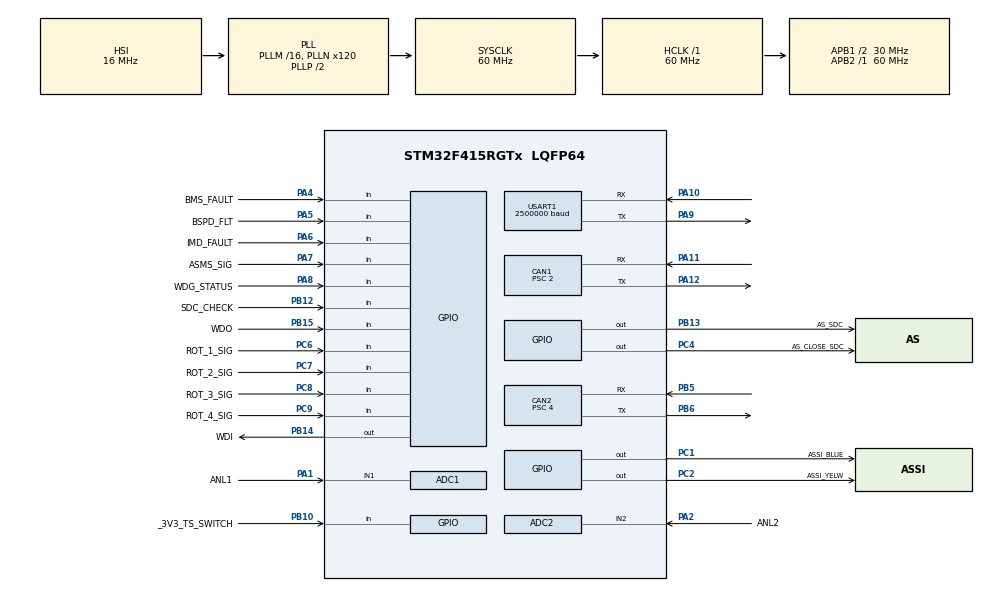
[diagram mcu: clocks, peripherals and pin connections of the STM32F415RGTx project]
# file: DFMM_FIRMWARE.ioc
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ADC1.Channel-0\#ChannelRegularConversion=ADC_CHANNEL_1
ADC1.ClockPrescaler=ADC_CLOCK_SYNC_PCLK_DIV4
ADC1.NbrOfConversionFlag=1
ADC1.Rank-0\#ChannelRegularConversion=1
ADC1.SamplingTime-0\#ChannelRegularConversion=ADC_SAMPLETIME_3CYCLES
ADC1.master=1
ADC2.Channel-0\#ChannelRegularConversion=ADC_CHANNEL_2
ADC2.ClockPrescaler=ADC_CLOCK_SYNC_PCLK_DIV4
ADC2.NbrOfConversionFlag=1
ADC2.Rank-0\#ChannelRegularConversion=1
ADC2.SamplingTime-0\#ChannelRegularConversion=ADC_SAMPLETIME_3CYCLES
CAN1.BS1=CAN_BS1_12TQ
CAN1.BS2=CAN_BS2_2TQ
CAN1.CalculateBaudRate=999999
CAN1.CalculateTimeBit=1000
CAN1.CalculateTimeQuantum=66.66666666666667
CAN1.Mode=CAN_MODE_LOOPBACK
CAN1.Prescaler=2
CAN2.BS1=CAN_BS1_12TQ
CAN2.BS2=CAN_BS2_2TQ
CAN2.CalculateBaudRate=499999
CAN2.CalculateTimeBit=2000
CAN2.CalculateTimeQuantum=133.33333333333334
CAN2.Mode=CAN_MODE_LOOPBACK
CAN2.Prescaler=4
Dma.Request0=USART1_TX
Dma.USART1_TX.0.Direction=DMA_MEMORY_TO_PERIPH
Dma.USART1_TX.0.FIFOMode=DMA_FIFOMODE_ENABLE
Dma.USART1_TX.0.FIFOThreshold=DMA_FIFO_THRESHOLD_FULL
Dma.USART1_TX.0.Instance=DMA2_Stream7
Dma.USART1_TX.0.MemBurst=DMA_MBURST_SINGLE
Dma.USART1_TX.0.MemDataAlignment=DMA_MDATAALIGN_BYTE
Dma.USART1_TX.0.MemInc=DMA_MINC_ENABLE
Dma.USART1_TX.0.Mode=DMA_NORMAL
Dma.USART1_TX.0.PeriphBurst=DMA_PBURST_SINGLE
Dma.USART1_TX.0.PeriphDataAlignment=DMA_PDATAALIGN_BYTE
Dma.USART1_TX.0.PeriphInc=DMA_PINC_DISABLE
Dma.USART1_TX.0.Priority=DMA_PRIORITY_LOW
Mcu.Family=STM32F4
Mcu.Name=STM32F415RGTx
Mcu.Package=LQFP64
NVIC.CAN1_RX0_IRQn=true\:0\:0\:false\:false\:true\:true\:true\:true
NVIC.CAN2_RX1_IRQn=true\:0\:0\:false\:false\:true\:true\:true\:true
NVIC.DMA2_Stream7_IRQn=true\:0\:0\:false\:false\:true\:false\:true\:true
NVIC.PriorityGroup=NVIC_PRIORITYGROUP_4
NVIC.TIM6_DAC_IRQn=true\:0\:0\:false\:false\:true\:true\:true\:true
NVIC.TIM7_IRQn=true\:0\:0\:false\:false\:true\:true\:true\:true
PA1.GPIO_Label=ANL1
PA1.Signal=ADCx_IN1
PA10.Mode=Asynchronous
PA10.Signal=USART1_RX
PA11.Mode=CAN_Activate
PA11.Signal=CAN1_RX
PA12.Mode=CAN_Activate
PA12.Signal=CAN1_TX
PA13.GPIO_Label=SWDIO
PA13.Mode=JTAG_4_pins
PA13.Signal=SYS_JTMS-SWDIO
PA14.GPIO_Label=SWCLK
PA14.Mode=JTAG_4_pins
PA14.Signal=SYS_JTCK-SWCLK
PA15.GPIO_Label=JTDI
PA15.Mode=JTAG_4_pins
PA15.Signal=SYS_JTDI
PA2.GPIO_Label=ANL2
PA2.Signal=ADCx_IN2
PA4.GPIO_Label=BMS_FAULT
PA4.GPIO_PuPd=GPIO_PULLUP
PA4.Signal=GPIO_Input
PA5.GPIO_Label=BSPD_FLT
PA5.GPIO_PuPd=GPIO_PULLUP
PA5.Signal=GPIO_Input
PA6.GPIO_Label=IMD_FAULT
PA6.Signal=GPIO_Input
PA7.GPIO_Label=ASMS_SIG
PA7.Signal=GPIO_Input
PA8.GPIO_Label=WDG_STATUS
PA8.GPIO_PuPd=GPIO_PULLUP
PA8.Signal=GPIO_Input
PA9.Mode=Asynchronous
PA9.Signal=USART1_TX
PB10.GPIO_Label=_3V3_TS_SWITCH
PB10.GPIO_PuPd=GPIO_PULLUP
PB10.Signal=GPIO_Input
PB12.GPIO_Label=SDC_CHECK
PB12.GPIO_PuPd=GPIO_PULLDOWN
PB12.Signal=GPIO_Input
PB13.GPIO_Label=AS_SDC
PB13.Signal=GPIO_Output
PB14.GPIO_Label=WDI
PB14.Signal=GPIO_Output
PB15.GPIO_Label=WDO
PB15.Signal=GPIO_Input
PB3.Mode=JTAG_4_pins
PB3.Signal=SYS_JTDO-SWO
PB5.Mode=CAN_Activate
PB5.Signal=CAN2_RX
PB6.Mode=CAN_Activate
PB6.Signal=CAN2_TX
PC1.GPIO_Label=ASSI_BLUE
PC1.Signal=GPIO_Output
PC2.GPIO_Label=ASSI_YELW
PC2.Signal=GPIO_Output
PC4.GPIO_Label=AS_CLOSE_SDC
PC4.Signal=GPIO_Output
PC6.GPIO_Label=ROT_1_SIG
PC6.GPIO_PuPd=GPIO_PULLUP
PC6.Signal=GPIO_Input
PC7.GPIO_Label=ROT_2_SIG
PC7.GPIO_PuPd=GPIO_PULLUP
PC7.Signal=GPIO_Input
PC8.GPIO_Label=ROT_3_SIG
PC8.Signal=GPIO_Input
PC9.GPIO_Label=ROT_4_SIG
PC9.Signal=GPIO_Input
ProjectManager.HeapSize=0x200
ProjectManager.StackSize=0x400
ProjectManager.TargetToolchain=STM32CubeIDE
RCC.48MHZClocksFreq_Value=30000000
RCC.AHBFreq_Value=60000000
RCC.APB1CLKDivider=RCC_HCLK_DIV2
RCC.APB1Freq_Value=30000000
RCC.APB1TimFreq_Value=60000000
RCC.APB2Freq_Value=60000000
RCC.APB2TimFreq_Value=60000000
RCC.CortexFreq_Value=60000000
RCC.HCLKFreq_Value=60000000
RCC.HSE_VALUE=25000000
RCC.HSI_VALUE=16000000
RCC.LSE_VALUE=32768
RCC.PLLN=120
RCC.SYSCLKFreq_VALUE=60000000
RCC.SYSCLKSource=RCC_SYSCLKSOURCE_PLLCLK
RCC.VCOOutputFreq_Value=120000000
SH.ADCx_IN1.0=ADC1_IN1,IN1
SH.ADCx_IN2.0=ADC2_IN2,IN2
TIM6.Period=24999
TIM6.Prescaler=59999
TIM7.Period=89
TIM7.Prescaler=59999
USART1.BaudRate=2500000
USART1.Mode=MODE_TX
USART1.VirtualMode=VM_ASYNC
VP_TIM6_VS_ClockSourceINT.Mode=Enable_Timer
VP_TIM7_VS_ClockSourceINT.Mode=Enable_Timer
board=custom

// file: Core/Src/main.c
/* USER CODE BEGIN Header */
/**
  ******************************************************************************
  * @file           : main.c
  * @brief          : Main program body
  ******************************************************************************
  * @attention
  *
  * Copyright (c) 2024 STMicroelectronics.
  * All rights reserved.
  *
  * This software is licensed under terms that can be found in the LICENSE file
  * in the root directory of this software component.
  * If no LICENSE file comes with this software, it is provided AS-IS.
  *
  ******************************************************************************
  */
/* USER CODE END Header */
#include "main.h"
#include "adc.h"
#include "can.h"
#include "dma.h"
#include "tim.h"
#include "usart.h"
#include "gpio.h"

/* USER CODE BEGIN Includes */
#include "ASSI.h"
#include <stdio.h>
#include <string.h>
/* USER CODE END Includes */

/* USER CODE BEGIN PM */
AV_STATE av_status = OFF; // Tracks current state of AV (initial state is off)
FAILURE_MODE_READING FAILURE_MODE = NONE; // Stores current error of the AV for error message
AS__INDICATOR_STATES State_Variables; // Stores current state of AV inputs
AS__INDICATOR_STATES* indicators = &State_Variables; // Pointer to the AV inputs struct
uint8_t M150_State_Trigger[8];

/* USER CODE END PM */

void SystemClock_Config(void);

/* USER CODE BEGIN 0 */
uint8_t av_status_hex = 0; // Stores av status as a hex code: 0 for off, 1 for ready, 2 for driving, 3 for finished and 4 for emergency
uint16_t timecheck = 0; // Stores time in order to trigger timeout errors
uint8_t CAN_Bus_Limiter = 0; // Acts as a limit that prevents a large number of error messages being dumped into the CAN Bus.

/* The following variables are global flags triggered by various CAN Channels. These will NEED to be changed
 * depending on the hex address of the channel (refer to the CAN source file)
 */

// Cannister Pressure Check: 1 for ok, 0 for not
volatile uint8_t EBS_Energy_Check = 0;
// Brake Line Pressure Check: 1 for ok, 0 for not
volatile uint8_t EBS_Brake_Line = 0;
// Redundant
volatile uint8_t Service_Brake_Check = 0;
// Redundant
volatile uint8_t Steering_Actuator_Check = 0;
// Flag for mission finish from PC: 1 if finished, 0 if not
volatile uint8_t Mission_Finished = 0;
// Flag for EBS buzzer or Driving buzzer playing: 0 for not playing, 1 for EBS buzzer playing, 2 for Driving buzzer playing
volatile uint8_t EBS_Sound = 0;
// Flag for RES activated: 0 for not activated, 1 for activated
volatile uint8_t RES = 0;
// Flag for R2D switch on RES being switched: 0 if not, 1 for activated
volatile uint8_t R2D = 0;
// Flag for strain gauge off M150 showing broken spring: 0 if not, 1 for broken
volatile uint8_t StrainGauge = 0;
// Redundant
volatile uint8_t EBS_Test_Accel_Stop = 0;
// Stores the time since last heartbeat/message received from node
// PLEASE CHANGE TIMEOUT PERIODS (refer to timer interrupts) AND NODE IDS (refer to CAN source file) IF ERRORS ARE THROWN
volatile uint8_t HeartbeatCheck[3] = {0, 0, 0};
/* USER CODE END 0 */

int main(void)
{

  /* USER CODE BEGIN 1 */

// LV Systems turn on -------------------------------------

  /* USER CODE END 1 */

  /* MCU Configuration--------------------------------------------------------*/

  /* Reset of all peripherals, Initializes the Flash interface and the Systick. */
  HAL_Init();

  /* Configure the system clock */
  SystemClock_Config();

  /* USER CODE BEGIN SysInit */

  // Peripheral initialisation starts -------------------------------------------------------

  /* USER CODE END SysInit */

  /* Initialize all configured peripherals */
  MX_GPIO_Init();
  MX_DMA_Init();
  MX_ADC1_Init();
  MX_ADC2_Init();
  MX_USART1_UART_Init();
  MX_TIM6_Init();
  MX_TIM7_Init();
  MX_CAN2_Init();
  MX_CAN1_Init();
  /* USER CODE BEGIN 2 */
  HAL_TIM_Base_Start_IT(&htim6); // Initialise timer
  HAL_TIM_Base_Start_IT(&htim7); // Initialise timer

  // Peripheral initialisation complete -------------------------------------------------------

  Read_Rotary(&(State_Variables.R_S)); // Reads the current mission of the AV
  ASSI_Off(); // Ensures ASSI output is off

  /* Following is a testing block. Put a breakpoint at the first line when in debug mode, and when you press the resume
   * button, the code will run through this block. For CAN, probe the lines with the Saleas first. See if CAN frames
   * are being sent. For input pins, the state of them is updated in the indicators struct. If you hover over it
   * it will give a list of inputs (TS, SDC, ASMS). It will be 0 if low, 1 if high. The FAILURE_MODE struct will do
   * the same thing but for failure mode pins. Rotary Switch status is stored in indicators struct as well BUT
   * it is active high, so whichever mode is being used will need to be connected to ground.
   */
  while(1) {
	  CAN_Send_Message_String("OOGABOOG");
	  CAN_Send_Datalogger();
	  ReadInputs(indicators);
	  ReadForFaults(&FAILURE_MODE, indicators);
	  HAL_Delay(200);
  }

  // Read all inputs before
  /* USER CODE END 2 */

  /* Infinite loop */
  /* USER CODE BEGIN WHILE */
  while (1)
  {
	/* This is an implementation of a FSM in C. State outputs are executed at the start of every loop, along with the state attribute checks.
	 * A switch block is used for the state transitions for ever possible state.
	 */
	ReadInputs(indicators); // Updates all AV inputs
	ReadForFaults(&FAILURE_MODE, indicators); // Checks all fault readings from AV
	AV_State_Outputs(indicators, av_status, FAILURE_MODE); // Implements ASSI and EBS changes depending on current State

	switch(av_status) {
			case OFF:
				if(indicators->R_S != INSPECTION && indicators->TS == 1
						&& indicators->ASMS_Status == 1) {
					Initial_Checkup();
					av_status = READY;
					av_status_hex = 0x01;
					timecheck = __HAL_TIM_GET_COUNTER(&htim7);
				}
				break;

			case READY:
				if(FAILURE_MODE != NONE || RES == 1) {
					av_status_hex = 0x04;
					av_status = EMERGENCY;
				}
				else if(indicators->ASMS_Status == 0 && indicators->TS == 0 && indicators->EBS == 0) {
					av_status_hex = 0;
					av_status = OFF;
				}
				else if((__HAL_TIM_GET_COUNTER(&htim7) - timecheck) > 500 && indicators->R_S != MANUAL && R2D == 1) {
					if (indicators->R_S == TRACK) {
						CAN_Send_Message_String("DRIVING");  // Change this to whatever CAN message needs to be broadcast in Driving state
					}
					else if (indicators->R_S == EBS_TEST) {
						CAN_Send_Message_String("EBSTEST");  // Change this to whatever CAN message needs to be broadcast in EBS Test state
					}
					else if (indicators->R_S == INSPECTION) {
						CAN_Send_Message_String("INSPECT");  // Change this to whatever CAN message needs to be broadcast in Inspect state
					}
					av_status_hex = 0x02;
					av_status = DRIVING;
				}
				break;

			case DRIVING:
				if(FAILURE_MODE != NONE || RES == 1) {
					av_status_hex = 0x04;
					av_status = EMERGENCY;
				}
				else if(indicators->R_S == EBS_TEST) {
					if(EBS_Test_Accel_Stop == 1) {
						av_status_hex = 0x04;
						av_status = EMERGENCY;
					}
				}
				else if(Mission_Finished == 1) {
					EBSActivate(indicators);
					av_status_hex = 0x03;
					av_status = FINISHED;
				}
				break;

			case EMERGENCY:
				if(EBS_Sound == 0 && indicators->ASMS_Status == 0 && indicators->SB == 0 && indicators->TS == 0 && indicators->R_S == TRACK) {
					av_status = OFF;
					RES = 0;
					av_status_hex = 0;
					FAILURE_MODE = NONE;
				}
				break;

			case FINISHED:
				if(RES == 1) {
					av_status_hex = 0x04;
					av_status = EMERGENCY;
				}
				else if(indicators->ASMS_Status == 0 && indicators->SB == 0) {
					av_status_hex = 0;
					av_status = OFF;
				}
				break;
		}
    /* USER CODE END WHILE */

  }
}

void SystemClock_Config(void)
{
  RCC_OscInitTypeDef RCC_OscInitStruct = {0};
  RCC_ClkInitTypeDef RCC_ClkInitStruct = {0};

  /** Configure the main internal regulator output voltage
  */
  __HAL_RCC_PWR_CLK_ENABLE();
  __HAL_PWR_VOLTAGESCALING_CONFIG(PWR_REGULATOR_VOLTAGE_SCALE1);

  /** Initializes the RCC Oscillators according to the specified parameters
  * in the RCC_OscInitTypeDef structure.
  */
  RCC_OscInitStruct.OscillatorType = RCC_OSCILLATORTYPE_HSI;
  RCC_OscInitStruct.HSIState = RCC_HSI_ON;
  RCC_OscInitStruct.HSICalibrationValue = RCC_HSICALIBRATION_DEFAULT;
  RCC_OscInitStruct.PLL.PLLState = RCC_PLL_ON;
  RCC_OscInitStruct.PLL.PLLSource = RCC_PLLSOURCE_HSI;
  RCC_OscInitStruct.PLL.PLLM = 16;
  RCC_OscInitStruct.PLL.PLLN = 120;
  RCC_OscInitStruct.PLL.PLLP = RCC_PLLP_DIV2;
  RCC_OscInitStruct.PLL.PLLQ = 4;
  if (HAL_RCC_OscConfig(&RCC_OscInitStruct) != HAL_OK)
  {
    Error_Handler();
  }

  /** Initializes the CPU, AHB and APB buses clocks
  */
  RCC_ClkInitStruct.ClockType = RCC_CLOCKTYPE_HCLK|RCC_CLOCKTYPE_SYSCLK
                              |RCC_CLOCKTYPE_PCLK1|RCC_CLOCKTYPE_PCLK2;
  RCC_ClkInitStruct.SYSCLKSource = RCC_SYSCLKSOURCE_PLLCLK;
  RCC_ClkInitStruct.AHBCLKDivider = RCC_SYSCLK_DIV1;
  RCC_ClkInitStruct.APB1CLKDivider = RCC_HCLK_DIV2;
  RCC_ClkInitStruct.APB2CLKDivider = RCC_HCLK_DIV1;

  if (HAL_RCC_ClockConfig(&RCC_ClkInitStruct, FLASH_LATENCY_1) != HAL_OK)
  {
    Error_Handler();
  }
}

/* USER CODE BEGIN 4 */
void HAL_TIM_PeriodElapsedCallback(TIM_HandleTypeDef *htim)
{
  // Check which version of the timer triggered this callback and toggle Watchdog
  if (htim == &htim7) // Heartbeat check may be faulty if nodes cannot meet timeout of 2s but still work. Scrap Heartbeat check in this case. Also refer to CAN source file to change Node ids (channel Ids) for respective nodes.
  {
	  int i;
	  	for (i = 0; i < 1; i++) {
	  		if ((__HAL_TIM_GET_COUNTER(&htim6) - HeartbeatCheck[i]) > 2000) {
	  			FAILURE_MODE = HEARTBEAT_FAULT;
	  			}
	  	}
  }

  if (htim == &htim7)
    {
  	  HAL_GPIO_TogglePin(WDI_GPIO_Port, WDI_Pin); // Toggle watchdog control pin
    }
}

/**
  * @brief  This function is used to change all variable in the indicator struct to their current state.
  * @param  indicators is a pointer to the struct containing all state information.
  * @retval void
  */
void ReadInputs(AS__INDICATOR_STATES *indicators) {
	Read_Rotary(&(indicators->R_S));
	indicators->TS = HAL_GPIO_ReadPin(_3V3_TS_SWITCH_GPIO_Port, _3V3_TS_SWITCH_Pin);
	indicators->SB = Service_Brake_Check; // Redundant
	indicators->SA = Steering_Actuator_Check; // Redundant
	indicators->ASMS_Status = HAL_GPIO_ReadPin(ASMS_SIG_GPIO_Port, ASMS_SIG_Pin);
	indicators->SDC = HAL_GPIO_ReadPin(SDC_CHECK_GPIO_Port, SDC_CHECK_Pin);
	EBSCheck(indicators);
}

/**
  * @brief  This function is used to handle the failure-specific information transmitted over CAN.
  * 		Depending on the Failure Mode, the response over CAN will be different.
  * @param  fm is an enum that corresponds to the different types of failures that can occur in the AV.
  * @retval void
  */
void SystemFailureHandler(FAILURE_MODE_READING fm) {
	switch (fm) {
		case NONE:
			CAN_Send_Message_String("No Err\n");
			break;
		case SDC_FAILURE:
			CAN_Send_Message_String("SDCFlt\n");
			break;
		case NON_PROG_FAILURE:
			CAN_Send_Message_String("NonPrg\n");
			break;
		case EBS_FAILURE:
			CAN_Send_Message_String("EBS   \n");
			break;
		case IMD_FAULT:
			CAN_Send_Message_String("IMD   \n");
			break;
		case BMS_FAULT:
			CAN_Send_Message_String("BMS   \n");
			break;
		case BSPD_FAULT:
			CAN_Send_Message_String("BSPD  \n");
			break;
		case HEARTBEAT_FAULT:
			CAN_Send_Message_String("NodeFLT");
			break;
		case SPRING_BROKE:
			CAN_Send_Message_String("SprgFLT");
			break;
	}
	EBSActivate(indicators);
	Error_Handler();
}

/**
  * @brief  This function is used to cycle through the ASSI and EBS outputs of the current AV State.
  * @param  fm is an enum that corresponds to the different types of failures that can occur in the AV.
  * 		indicators is a pointer to the struct containing all state information.
  * 		status is an enum that corresponds to the current state of the AV, according to the FSM in the .README documentation.
  * @retval void
  */
void AV_State_Outputs(AS__INDICATOR_STATES *indicators, AV_STATE status, FAILURE_MODE_READING FM) {
	switch(status) {
		case (READY):
				ASSI_Ready();
				memset(M150_State_Trigger, 0, sizeof(M150_State_Trigger)); // Clear M150 Trigger array
				M150_State_Trigger[0] = 0xFF;
				CAN_Send_Message_SpecificID(M150_State_Trigger, 0x415); // CHANGE THESE LINES: THEY TRANSMIT AV STATUS ON SPECIFIC M150 CHANNEL TO ENSURE OUTPUTS ON. CONFIRM WHICH CHANNEL RECEIVES AV STATUS MESSAGES ON M150
		case (DRIVING):
				ASSI_Driving();
				memset(M150_State_Trigger, 0, sizeof(M150_State_Trigger)); // Clear M150 Trigger array
				M150_State_Trigger[1] = 0xFF;
				CAN_Send_Message_SpecificID(M150_State_Trigger, 0x415); // CHANGE THESE LINES: THEY TRANSMIT AV STATUS ON SPECIFIC M150 CHANNEL TO ENSURE OUTPUTS ON. CONFIRM WHICH CHANNEL RECEIVES AV STATUS MESSAGES ON M150
		case (EMERGENCY):
				memset(M150_State_Trigger, 0, sizeof(M150_State_Trigger)); // Clear M150 Trigger array
				M150_State_Trigger[2] = 0xFF;
				SystemFailureHandler(FM);
				CAN_Send_Message_SpecificID(M150_State_Trigger, 0x415); // CHANGE THESE LINES: THEY TRANSMIT AV STATUS ON SPECIFIC M150 CHANNEL TO ENSURE OUTPUTS ON. CONFIRM WHICH CHANNEL RECEIVES AV STATUS MESSAGES ON M150
		case (FINISHED):
				ASSI_Finished();
				memset(M150_State_Trigger, 0, sizeof(M150_State_Trigger)); // Clear M150 Trigger array
				M150_State_Trigger[3] = 0xFF;
				CAN_Send_Message_SpecificID(M150_State_Trigger, 0x415); // CHANGE THESE LINES: THEY TRANSMIT AV STATUS ON SPECIFIC M150 CHANNEL TO ENSURE OUTPUTS ON. CONFIRM WHICH CHANNEL RECEIVES AV STATUS MESSAGES ON M150
		case (OFF):
				ASSI_Off();
				memset(M150_State_Trigger, 0, sizeof(M150_State_Trigger)); // Clear M150 Trigger array
				M150_State_Trigger[4] = 0xFF;
				CAN_Send_Message_SpecificID(M150_State_Trigger, 0x415); // CHANGE THESE LINES: THEY TRANSMIT AV STATUS ON SPECIFIC M150 CHANNEL TO ENSURE OUTPUTS ON. CONFIRM WHICH CHANNEL RECEIVES AV STATUS MESSAGES ON M150
	}
}

/**
  * @brief  This function is used to check what state the Rotary Switch is currently in.
  * @param  RS is a pointer to the Rotary Switch enum that corresponds to all the different states.
  * @retval void
  */
void Read_Rotary(ROT_SWITCH* RS) {
	// Rotary switch is active high
	if(GPIO_PIN_RESET == HAL_GPIO_ReadPin(ROT_1_SIG_GPIO_Port, ROT_1_SIG_Pin)) {
		*RS = MANUAL;
	}
	else if (GPIO_PIN_RESET == HAL_GPIO_ReadPin(ROT_2_SIG_GPIO_Port, ROT_2_SIG_Pin)) {
		*RS = TRACK;
	}
	else if (GPIO_PIN_RESET == HAL_GPIO_ReadPin(ROT_3_SIG_GPIO_Port, ROT_3_SIG_Pin)) {
		*RS = EBS_TEST;
	}
	else if (GPIO_PIN_RESET == HAL_GPIO_ReadPin(ROT_4_SIG_GPIO_Port, ROT_4_SIG_Pin)) {
		*RS = INSPECTION;
	}
}

/**
  * @brief  This function reads the status of IMD, BSPD and BMS failure pins and changes the corresponding flags.
  * @param  fm is an enum that corresponds to the different types of failures that can occur in the AV.
  *			indicators is a pointer to the struct containing all state information.
  * @retval void
  */
void ReadForFaults(FAILURE_MODE_READING *Fm, AS__INDICATOR_STATES *indicators) {
	if(HAL_GPIO_ReadPin(BMS_FAULT_GPIO_Port, BMS_FAULT_Pin) == 1) {
		*Fm = BMS_FAULT;
	}
	else if(HAL_GPIO_ReadPin(BSPD_FLT_GPIO_Port, BSPD_FLT_Pin) == 1) {
		*Fm = BSPD_FAULT;
	}
	else if(HAL_GPIO_ReadPin(IMD_FAULT_GPIO_Port, IMD_FAULT_Pin) == 1) {
		*Fm = IMD_FAULT;
	}
	else if(indicators->EBS == 0) {
		*Fm = EBS_FAILURE;
	}
	else if(HAL_GPIO_ReadPin(SDC_CHECK_GPIO_Port, SDC_CHECK_Pin) == 0) {
		*Fm = SDC_FAILURE;
	}
	else if(StrainGauge == 1) {
		*Fm = SPRING_BROKE;
	}
}

/**
  * @brief  This function is used to activate the EBS by setting the EBS actuator pin high. Also activates the redundant system if EBS not available.
  * @param  indicators is a pointer to the struct containing all state information.
  * @retval void
  */
void EBSActivate(AS__INDICATOR_STATES *indicators) {
	EBSCheck(indicators);
	if (indicators->EBS == ACTIVATED) {
		/* Send a message over CAN to activate redundant system*/
		CAN_Send_Message_String("RDNDNT\n");
	}
	else if (indicators->EBS == DEACTIVATED) {
		HAL_GPIO_WritePin(AS_CLOSE_SDC_GPIO_Port, AS_CLOSE_SDC_Pin, GPIO_PIN_RESET);
	}
}

/**
  * @brief  This function is used to deactivate the EBS by enabling the SDC, which will happen if failures have been resolved.
  * @param  indicators is a pointer to the struct containing all state information.
  * @retval void
  */
void EBSReset(AS__INDICATOR_STATES *indicators) {
	EBSCheck(indicators);
	if (indicators->EBS == ACTIVATED) {
		HAL_GPIO_WritePin(AS_CLOSE_SDC_GPIO_Port, AS_CLOSE_SDC_Pin, GPIO_PIN_SET);
	}
}

/**
  * @brief  Performs initial checkup before going into Ready State from Idle.
  * @param  void
  * @retval void
  */
void EBSCheck(AS__INDICATOR_STATES *indicators) {
	if (EBS_Brake_Line == 1) {
		indicators->EBS = ACTIVATED;
	}
	else if (EBS_Brake_Line == 0) {
		indicators->EBS = DEACTIVATED;
	}
}

/**
  * @brief  This function is used to deactivate the EBS by enabling the SDC, which will happen if failures have been resolved.
  * @param  indicators is a pointer to the struct containing all state information.
  * @retval void
  */
void Initial_Checkup(void) {
	  timecheck = __HAL_TIM_GET_COUNTER(&htim7); // You will see this often. This is me setting the current count of the timer to the timecheck variable for future comparison.
	  while (HAL_GPIO_ReadPin(SDC_CHECK_GPIO_Port, SDC_CHECK_Pin) == GPIO_PIN_RESET) {
		  if (__HAL_TIM_GET_COUNTER(&htim7) - timecheck > 150) {
			  // Timeout Condition for if the SDC does not go to high.
			  FAILURE_MODE = SDC_FAILURE;
			  SystemFailureHandler(FAILURE_MODE);
		  }
	  }

	  timecheck = __HAL_TIM_GET_COUNTER(&htim7);
	  CAN_Bus_Limiter = 0; // reset the CAN Bus Error Limiter
	  HAL_NVIC_DisableIRQ(TIM7_IRQn); // Disable Watchdog interrupts
	  HAL_Delay(200);
	  while (HAL_GPIO_ReadPin(SDC_CHECK_GPIO_Port, SDC_CHECK_Pin) == 1) {
		  if (__HAL_TIM_GET_COUNTER(&htim7) - timecheck > 150) {
			  FAILURE_MODE = NON_PROG_FAILURE;
			  SystemFailureHandler(FAILURE_MODE);
		  }
	  }

	  HAL_NVIC_EnableIRQ(TIM7_IRQn); // Enable Watchdog interrupts
	  timecheck = __HAL_TIM_GET_COUNTER(&htim7);
	  while (EBS_Energy_Check == 0) {
		  if (__HAL_TIM_GET_COUNTER(&htim7) - timecheck > 150) {
			  // Timeout Condition if EBS Cannister and line Pressure are not built up.
			  FAILURE_MODE = EBS_FAILURE;
			  SystemFailureHandler(FAILURE_MODE);
		  }
	  }

	  HAL_GPIO_WritePin(AS_CLOSE_SDC_GPIO_Port, AS_CLOSE_SDC_Pin, GPIO_PIN_SET); // Close SDC Relay once checks have been performed.

	  av_status = READY; // Transition into READY state
	  timecheck = __HAL_TIM_GET_COUNTER(&htim7);
}

/* USER CODE END 4 */

void Error_Handler(void)
{
  /* USER CODE BEGIN Error_Handler_Debug */
  /* User can add his own implementation to report the HAL error return state */
  __disable_irq();
  while (1)
  {
	  ASSI_Emergency();
  }
  /* USER CODE END Error_Handler_Debug */
}
